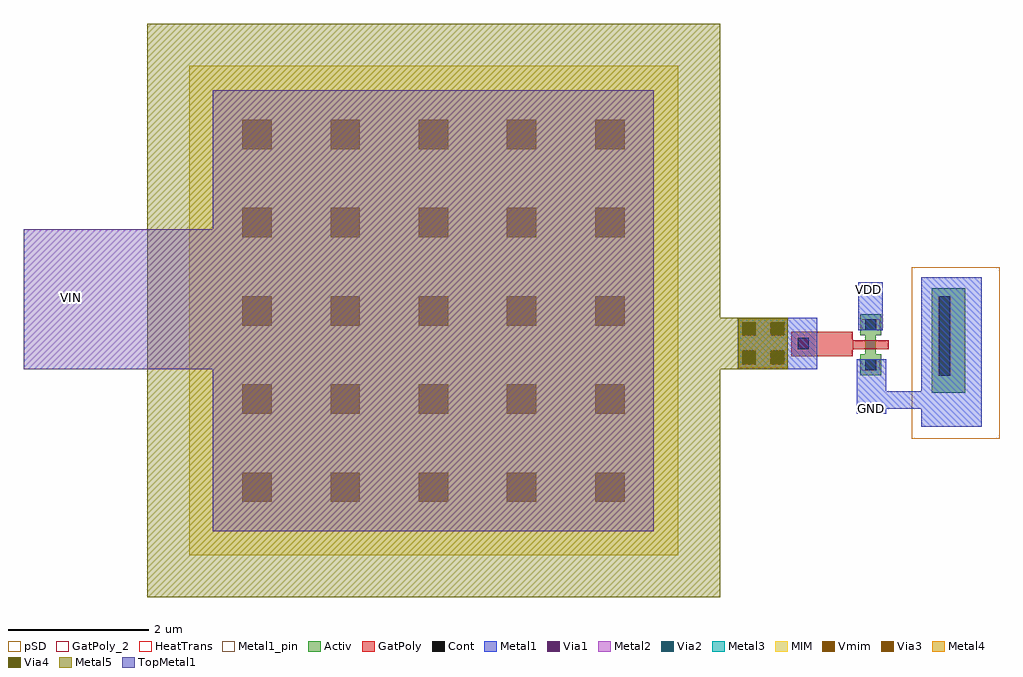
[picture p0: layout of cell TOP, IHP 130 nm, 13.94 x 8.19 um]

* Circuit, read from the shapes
.subckt TOP GND VDD VIN
XM1 VDD n1 GND GND sg13_lv_nmos w=0.15u l=0.13u
XC2 VIN n1 cap_cmim w=6.99u l=6.99u
.ends

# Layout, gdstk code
from math import pi, radians
import gdstk
lib = gdstk.Library(unit=1e-6, precision=1e-09)
def R(c, l, rs):  # rectangles x0, y0, x1, y1
    for r in rs: c.add(gdstk.rectangle(r[:2], r[2:], *l))
def A(c, l, x, y, w, h, nx, ny, dx, dy):  # array of equal rectangles
    R(c, l, [(x+i*dx, y+j*dy, x+i*dx+w, y+j*dy+h) for i in range(nx) for j in range(ny)])
Activ = (1, 0)
GatPoly = (5, 0)
GatPoly_2 = (5, 2)
Cont = (6, 0)
Metal1 = (8, 0)
Metal1_pin = (8, 2)
Metal2 = (10, 0)
pSD = (14, 0)
Via1 = (19, 0)
Via2 = (29, 0)
Metal3 = (30, 0)
MIM = (36, 0)
Via3 = (49, 0)
Metal4 = (50, 0)
HeatTrans = (51, 0)
Via4 = (66, 0)
Metal5 = (67, 0)
TopMetal1 = (126, 0)
Vmim = (129, 0)

nmos = lib.new_cell('nmos')
R(nmos, Activ, [(0,0,0.3,0.3), (0.57,0,0.87,0.3), (0,0.075,0.87,0.225)])
R(nmos, GatPoly, [(0.37,-0.105,0.5,0.405)])
R(nmos, GatPoly_2, [(0.37,-0.105,0.5,0.405)])
R(nmos, Cont, [(0.07,0.07,0.23,0.23), (0.64,0.07,0.8,0.23)])
R(nmos, Metal1, [(0.07,0.02,0.23,0.28), (0.64,0.02,0.8,0.28)])
R(nmos, Metal1_pin, [(0.07,0.02,0.23,0.28), (0.64,0.02,0.8,0.28)])
R(nmos, HeatTrans, [(0.37,-0.105,0.5,0.405)])
nmos.add(gdstk.Label('nmos', (0.435,0.15), layer=63, texttype=0))
nmos.add(gdstk.Label('nmos', (0.435,0.15), layer=51, texttype=0))

cmim = lib.new_cell('cmim')
R(cmim, MIM, [(0,0,6.99,6.99)])
R(cmim, Metal5, [(-0.6,-0.6,7.59,7.59)])
R(cmim, TopMetal1, [(0.34,0.34,6.64,6.64)])
A(cmim, Vmim, 0.76, 0.76, 0.42, 0.42, 5, 5, 1.26, 1.26)

via_stack_1 = lib.new_cell('via_stack$1')
R(via_stack_1, Metal1, [(-0.35,-0.35,0.35,0.35)])
R(via_stack_1, Metal2, [(-0.35,-0.35,0.35,0.35)])
R(via_stack_1, Via1, [(-0.3,-0.3,-0.11,-0.11), (0.11,-0.3,0.3,-0.11), (-0.3,0.11,-0.11,0.3), (0.11,0.11,0.3,0.3)])
R(via_stack_1, Via2, [(-0.3,-0.3,-0.11,-0.11), (0.11,-0.3,0.3,-0.11), (-0.3,0.11,-0.11,0.3), (0.11,0.11,0.3,0.3)])
R(via_stack_1, Metal3, [(-0.35,-0.35,0.35,0.35)])
R(via_stack_1, Via3, [(-0.3,-0.3,-0.11,-0.11), (0.11,-0.3,0.3,-0.11), (-0.3,0.11,-0.11,0.3), (0.11,0.11,0.3,0.3)])
R(via_stack_1, Metal4, [(-0.35,-0.35,0.35,0.35)])
R(via_stack_1, Via4, [(-0.3,-0.3,-0.11,-0.11), (0.11,-0.3,0.3,-0.11), (-0.3,0.11,-0.11,0.3), (0.11,0.11,0.3,0.3)])
R(via_stack_1, Metal5, [(-0.35,-0.35,0.35,0.35)])

top = lib.new_cell('TOP')
R(top, Activ, [(1.21,-0.685,1.69,0.81)])
R(top, GatPoly, [(-0.795,-0.165,0.085,0.19)])
R(top, Cont, [(1.315,-0.445,1.475,0.69), (-0.705,-0.06,-0.545,0.1)])
R(top, Metal1, [(1.06,-1.17,1.925,0.965), (0.14,-0.985,0.56,-0.205), (0.56,-0.91,1.06,-0.665), (-1.555,-0.35,-0.42,0.385), (0.16,0.205,0.515,0.89)])
R(top, pSD, [(0.93,-1.34,2.18,1.11)])
R(top, Metal5, [(-1.805,-0.35,-0.845,0.385)])
R(top, TopMetal1, [(-11.76,-0.35,-9.055,1.65)])
top.add(gdstk.Reference(nmos, (0.49,-0.435), rotation=pi/2))
top.add(gdstk.Reference(cmim, (-9.395,-3.005)))
top.add(gdstk.Reference(via_stack_1, (-1.195,0.025)))
top.add(gdstk.Label('GND', (0.35,-0.915), layer=8, texttype=25))
top.add(gdstk.Label('VDD', (0.31,0.795), layer=8, texttype=25))
top.add(gdstk.Label('VIN', (-11.07,0.68), layer=126, texttype=25))

lib.write_gds('TOP.gds')
